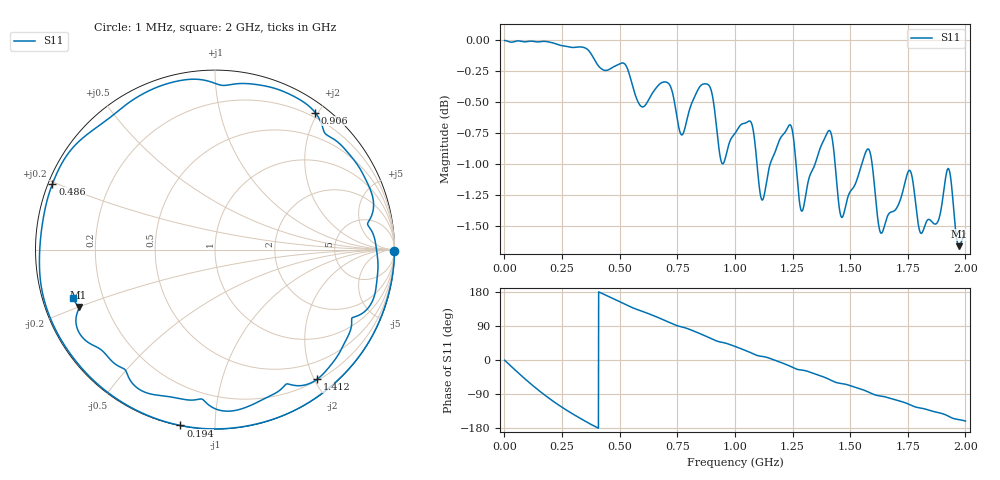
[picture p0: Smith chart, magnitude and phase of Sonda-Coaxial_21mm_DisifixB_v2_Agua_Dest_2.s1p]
! TOUCHSTONE file generated by CST MICROWAVE STUDIO
! Date and time: Sun Aug  2 11:33:43 2026
! Project name: Sonda-Coaxial_21mm_DisifixB_v2_Agua_Dest.cst
! Parameters = {h_recipiente=20; l_conector=50; r_arandela=35; r_ext=10.5; r_int=3; r_recipiente=100; z_recipiente=-30}
! Header version: 2018
! Port assignment regex: !\s*Touchstone port\s*([0-9]+)\s*=\s*(CST MWS port|CST DS port)\s*([0-9]+|Zmin|Zmax)\s*\(\"(.*)\"\)(\s*mode\s*([0-9]+))?.*
! Touchstone port assignment:
! Touchstone port 1 = CST MWS port 1 ("")
# GHz S RI R 50
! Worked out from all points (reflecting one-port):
!   2000 points, 1 MHz to 2 GHz, reference 50 ohm
!   lowest |S11| = -1.7 dB at 1.972 GHz (marker M1), VSWR 10.47, Z = 4.97 - j10.1 ohm
!   phase of S11 starts at -1 deg and turns -521 deg over the sweep
!   S11 on the Smith chart (normalised r, x): 1 MHz: open; 194 MHz: 0.00, -0.82; 486 MHz: 0.01, +0.19; 906 MHz: 0.14, +1.96; 1.412 GHz: 0.22, -2.04; 2 GHz: 0.09, -0.16
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0.001  1 -0.01
0.05  0.8804 -0.4728
0.105  0.5292 -0.8476
0.149  0.1702 -0.9841
0.194  -0.1932 -0.9797
0.251  -0.5722 -0.8142
0.305  -0.8181 -0.5638
0.359  -0.955 -0.2682
0.416  -0.9741 0.0375
0.486  -0.9059 0.3658
0.501  -0.8775 0.4331
0.553  -0.7226 0.6335
0.657  -0.3975 0.8699
0.751  -0.0051 0.9282
0.843  0.3105 0.9046
0.906  0.558 0.7638
1.001  0.745 0.5351
1.077  0.8827 0.2678
1.156  0.8916 0.0515
1.251  0.8629 -0.3124
1.412  0.5677 -0.7231
1.447  0.4258 -0.7532
1.501  0.3284 -0.8045
1.582  0.0728 -0.9003
1.751  -0.3841 -0.797
1.931  -0.7654 -0.4454
1.972  -0.7604 -0.3219
2  -0.7908 -0.2698
